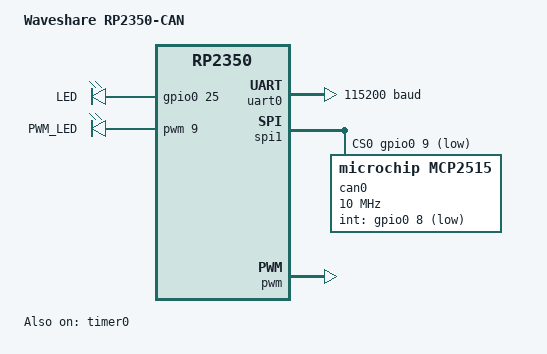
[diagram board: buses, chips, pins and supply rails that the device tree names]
/*
 * SPDX-FileCopyrightText: Copyright (c) 2025-2026 TiaC Systems
 * SPDX-License-Identifier: Apache-2.0
 * Modified for fibril_zephyr; see doc/index.rst for provenance and porting notes.
 */

#include <mem.h>
#include <freq.h>
#include <zephyr/dt-bindings/gpio/gpio.h>
#include <zephyr/dt-bindings/pwm/pwm.h>
#include "waveshare_rp2350_can-pinctrl.dtsi"

/ {
	model = "Waveshare RP2350-CAN";
	compatible = "waveshare,rp2350-can";

	chosen {
		zephyr,sram = &sram0;
		zephyr,flash = &flash0;
		zephyr,flash-controller = &qmi;
		zephyr,code-partition = &code_partition;
		zephyr,canbus = &xl2515;
	};

	aliases {
		can0 = &xl2515;
		led0 = &led0;
		pwm-led0 = &pwm_led0;
	};

	gpio-leds {
		compatible = "gpio-leds";
		led0: led0 {
			gpios = <&gpio0 25 GPIO_ACTIVE_HIGH>;
			label = "LED";
		};
	};

	pwm-leds {
		compatible = "pwm-leds";
		pwm_led0: pwm_led0 {
			pwms = <&pwm 9 PWM_MSEC(20) PWM_POLARITY_NORMAL>;
			label = "PWM_LED";
		};
	};
};

&flash0 {
	reg = <0x10000000 DT_SIZE_M(4)>;
	/* Storage allocation belongs to the application; expose all 4 MiB. */
	partitions {
		compatible = "fixed-partitions";
		#address-cells = <1>;
		#size-cells = <1>;
		code_partition: partition@0 {
			label = "code";
			reg = <0x0 DT_SIZE_M(4)>;
		};
	};
};

&gpio0 {
	status = "okay";
};

&uart0 {
	status = "okay";
	pinctrl-0 = <&uart0_default>;
	pinctrl-names = "default";
	current-speed = <115200>;
};

&spi1 {
	status = "okay";
	pinctrl-0 = <&spi1_can>;
	pinctrl-names = "default";
	cs-gpios = <&gpio0 9 GPIO_ACTIVE_LOW>;

	/* The onboard XL2515 uses the MCP2515 register interface. */
	can0: xl2515: can-controller@0 {
		compatible = "microchip,mcp2515";
		reg = <0>;
		spi-max-frequency = <DT_FREQ_M(10)>;
		int-gpios = <&gpio0 8 GPIO_ACTIVE_LOW>;
		/* The CAN controller has its own 16 MHz crystal. */
		osc-freq = <DT_FREQ_M(16)>;
		can-transceiver {
			max-bitrate = <DT_FREQ_M(1)>;
		};
	};
};

&pwm {
	status = "okay";
	pinctrl-0 = <&pwm_pico_default>;
	pinctrl-names = "default";
	/* Leave dividers automatic so applications can choose the period. */
};

&timer0 {
	status = "okay";
};
